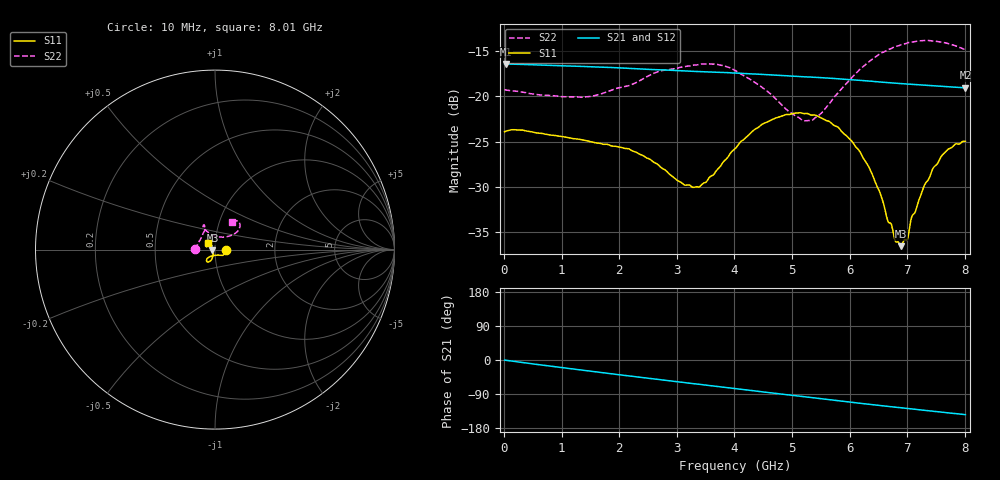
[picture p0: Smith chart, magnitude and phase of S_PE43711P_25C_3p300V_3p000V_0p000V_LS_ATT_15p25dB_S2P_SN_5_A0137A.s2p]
! Device ID: PE43711P
! File Path: z:\PE43711P\CHAR_NOM_04282014\AMB\3p300\LS_ATT_15p25dB\PE43711P_AMB_3p300V_3p000V_0p000V_LS_ATT_15p25dB_S2P_SN_5_A0137A.s2p
! Serial: 5
! Lot: A0137A
! Temp: 25C
! VDD: 3.300
! VSS: 0.000
! Control_Hi: 3.000
! Control_Lo: 0.000
! Attenuation Step: 15.25dB
! Port 1: RF1
! Port 2: RF2
! ThroughPath:1-2
! IDD: 0.0001281594
! ISS: -9.22e-008
#  Hz  S  RI  R  50
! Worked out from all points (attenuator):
!   801 points, 10 MHz to 8.01 GHz, reference 50 ohm
!   highest |S21| = -16.42 dB at 40 MHz (marker M1); lowest = -19.0 dB at 8.01 GHz (marker M2)
!   lowest |S11| = -36.5 dB at 6.89 GHz (marker M3), VSWR 1.03, Z = 48.6 - j0.357 ohm
!   |S11| at or under -10 dB: start of sweep to end of sweep
!   |S22| runs from -22.7 to -13.8 dB; largest |S21 - S12| = 0.0003
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1e7  0.0639 5.18e-05  0.1509 -0.000714  0.1511 -0.00073  -0.1091 0.000879
4e7  0.0645 -0.000454  0.1509 -0.00227  0.151 -0.00227  -0.1083 0.00245
1.35e9  0.0505 -0.0278  0.131 -0.0656  0.1311 -0.0656  -0.0835 0.0531
2.16e9  0.0396 -0.0329  0.1063 -0.0955  0.1065 -0.0955  -0.0628 0.0958
2.68e9  0.028 -0.0312  0.0877 -0.1096  0.0877 -0.1097  -0.0576 0.1246
3.12e9  0.0115 -0.0306  0.0705 -0.1192  0.0705 -0.1193  -0.0582 0.1337
3.37e9  0.000307 -0.0317  0.0605 -0.1231  0.0605 -0.1232  -0.0599 0.1373
4.01e9  -0.0314 -0.0408  0.034 -0.1303  0.0339 -0.1304  -0.0652 0.1232
4.68e9  -0.0472 -0.0585  0.00577 -0.1311  0.00571 -0.1312  -0.035 0.0933
5.05e9  -0.0454 -0.0669  -0.0091 -0.129  -0.00916 -0.129  -0.00501 0.0782
5.35e9  -0.0392 -0.0684  -0.0207 -0.126  -0.0207 -0.1262  0.0247 0.0697
5.79e9  -0.0254 -0.063  -0.0371 -0.1196  -0.0372 -0.1196  0.0733 0.0737
6.16e9  -0.0158 -0.048  -0.0495 -0.1124  -0.0496 -0.1124  0.1085 0.0874
6.38e9  -0.0122 -0.036  -0.0562 -0.1075  -0.0563 -0.1076  0.1242 0.0998
6.68e9  -0.0122 -0.016  -0.0642 -0.1004  -0.0642 -0.1005  0.1363 0.1205
6.8e9  -0.013 -0.00903  -0.0671 -0.0974  -0.0671 -0.0975  0.1386 0.1283
6.89e9  -0.0145 -0.00367  -0.0692 -0.0953  -0.0693 -0.0953  0.1397 0.1332
7e9  -0.0159 0.00303  -0.0718 -0.0926  -0.0718 -0.0926  0.1398 0.139
7.09e9  -0.0203 0.00878  -0.0739 -0.0903  -0.0739 -0.0903  0.138 0.1443
7.46e9  -0.03 0.0275  -0.0816 -0.0804  -0.0816 -0.0804  0.125 0.1588
7.69e9  -0.0364 0.0349  -0.0856 -0.0741  -0.0856 -0.074  0.1125 0.1613
8.01e9  -0.0407 0.0393  -0.0905 -0.0653  -0.0907 -0.065  0.0975 0.1521
